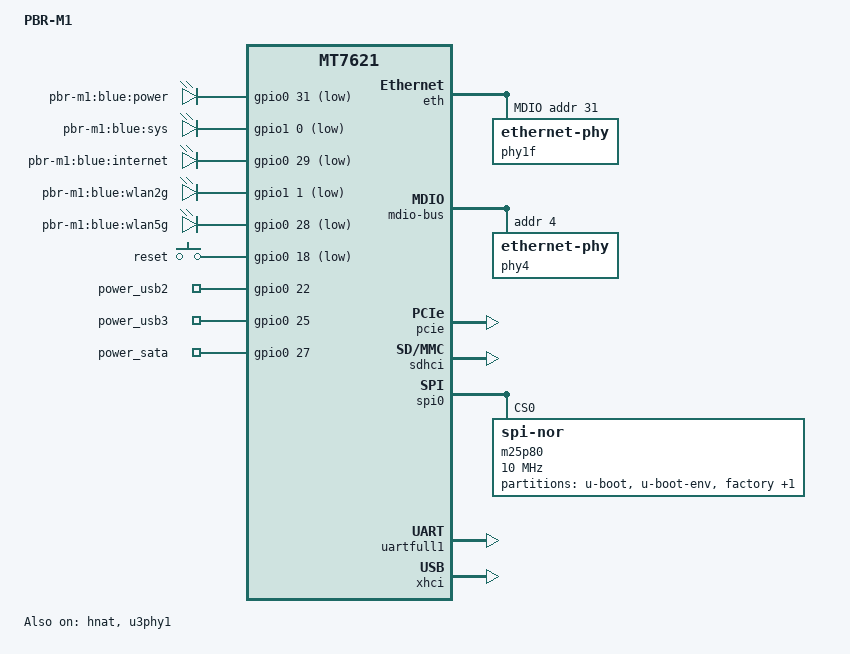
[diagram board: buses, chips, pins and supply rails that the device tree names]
/dts-v1/;

#include "mt7621.dtsi"

#include <dt-bindings/input/input.h>

/ {
	compatible = "mediatek,PBR-M1", "mediatek,mt7621-soc";
	model = "PBR-M1";

	chosen {
		bootargs = "console=ttyS0,115200";
	};

	gpio-leds {
		compatible = "gpio-leds";

		power {
			label = "pbr-m1:blue:power";
			gpios = <&gpio0 31 1>;
		};

		sys {
			label = "pbr-m1:blue:sys";
			gpios = <&gpio1 0 1>;
		};

		internet {
			label = "pbr-m1:blue:internet";
			gpios = <&gpio0 29 1>;
		};

		wlan2g {
			label = "pbr-m1:blue:wlan2g";
			gpios = <&gpio1 1 1>;
		};

		wlan5g {
			label = "pbr-m1:blue:wlan5g";
			gpios = <&gpio0 28 1>;
		};
	};

	gpio-keys-polled {
		compatible = "gpio-keys-polled";
		#address-cells = <1>;
		#size-cells = <0>;
		poll-interval = <20>;

		reset {
			label = "reset";
			gpios = <&gpio0 18 1>;
			linux,code = <KEY_RESTART>;
		};
	};

	gpio_export {
		compatible = "gpio-export";
		#size-cells = <0>;

		power_usb2 {
			gpio-export,name = "power_usb2";
			gpio-export,output = <1>;
			gpios = <&gpio0 22 0>;
		};

		power_usb3 {
			gpio-export,name = "power_usb3";
			gpio-export,output = <1>;
			gpios = <&gpio0 25 0>;
		};

		power_sata {
			gpio-export,name = "power_sata";
			gpio-export,output = <1>;
			gpios = <&gpio0 27 0>;
		};
	};
};

&eth {
        status = "okay";

        gmac0: mac@0 {
                compatible = "mediatek,eth-mac";
                reg = <0>;
                phy-mode = "trgmii";
                fixed-link {
                        speed = <1000>;
                        full-duplex;
                        pause;
                };
        };

        gmac1: mac@1 {
                compatible = "mediatek,eth-mac";
                reg = <1>;
                phy-mode = "rgmii";
                phy-link-handle = <&phy4>;
                fixed-link {
                        speed = <1000>;
                        full-duplex;
                        pause;
                };
        };

        mdio: mdio-bus {
                #address-cells = <1>;
                #size-cells = <0>;

                phy1f: ethernet-phy@1f {
                        reg = <0x1f>;
                        phy-mode = "rgmii";
                };
        };
};

&gsw {
	mediatek,mdio = <&mdio>;
	mediatek,portmap = "llllw";
	mediatek,mcm;

	resets = <&rstctrl 2>;
	reset-names = "mcm";

	port5: port@5 {
		compatible = "mediatek,mt753x-port";
		reg = <5>;
		phy-mode = "rgmii";
		fixed-link {
			speed = <1000>;
			full-duplex;
		};
	};

	port6: port@6 {
		compatible = "mediatek,mt753x-port";
		reg = <6>;
		phy-mode = "trgmii";
		fixed-link {
			speed = <1000>;
			full-duplex;
		};
	};

	mdio-bus {
		#address-cells = <1>;
		#size-cells = <0>;
		phy4: ethernet-phy@4 {
			reg = <0x4>;
			phy-mode = "gmii";
		};
	};
};

&hnat {
	mtketh-wan = "eth1";
	mtketh-ppd = "eth0";
	ext-devices = "rai0", "ra0", "rai1", "ra1", "rai2", "ra2", "rai3", "ra3", "apclii0", "apcli0";
	mtketh-max-gmac = <2>;
	status = "okay";
};

&pcie {
	status = "okay";
};

&sdhci {
	status = "okay";
	pinctrl-names = "default";
	pinctrl-0 = <&sdhci_pins>;
};

&spi0 {
	status = "okay";

	m25p80@0 {
		#address-cells = <1>;
		#size-cells = <1>;
		compatible = "jedec,spi-nor";
		reg = <0>;
		spi-max-frequency = <10000000>;
		m25p,chunked-io = <32>;

		partition@0 {
			label = "u-boot";
			reg = <0x0 0x30000>;
			read-only;
		};

		partition@30000 {
			label = "u-boot-env";
			reg = <0x30000 0x10000>;
			read-only;
		};

		factory: partition@40000 {
			label = "factory";
			reg = <0x40000 0x10000>;
			read-only;
		};

		partition@50000 {
			label = "firmware";
			reg = <0x50000 0xfb0000>;
		};
	};
};

&pinctrl {
	state_default: pinctrl0 {
		gpio {
			mtk,group = "wdt", "rgmii2", "jtag";
			mtk,function = "gpio";
		};
	};
};

&uartfull1 {
	status = "okay";
};

&u3phy1 {
	status = "okay";
};

&xhci {
	status = "okay";
};
